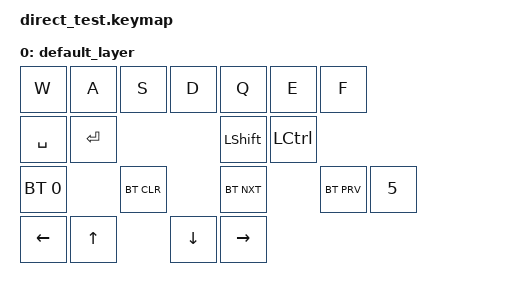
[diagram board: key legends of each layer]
#include <behaviors.dtsi>
#include <dt-bindings/zmk/keys.h>
#include <dt-bindings/zmk/bt.h>

/ {
    keymap {
        compatible = "zmk,keymap";

        default_layer {
            bindings = <
                &kp W &kp A &kp S &kp D &kp Q &kp E &kp F
                &kp SPACE &kp RET &kp LSHFT &kp LCTRL
                &bt BT_SEL 0 &bt BT_CLR &bt BT_NXT &bt BT_PRV &kp N5
                &kp LEFT &kp UP &kp DOWN &kp RIGHT
            >;
        };
    };
};
